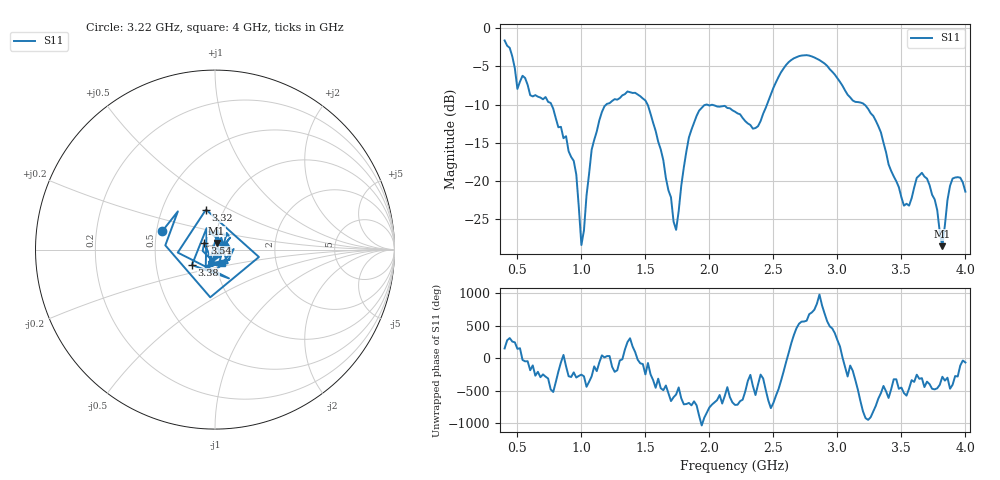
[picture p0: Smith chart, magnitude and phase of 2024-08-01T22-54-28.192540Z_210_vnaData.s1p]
!Created with skrf (http://scikit-rf.org).
# Hz S RI R 50.0
!freq ReS11 ImS11
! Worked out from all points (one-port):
!   181 points, 400 MHz to 4 GHz, reference 50 ohm
!   lowest |S11| = -28.5 dB at 3.82 GHz (marker M1), VSWR 1.08, Z = 50.7 + j3.72 ohm
!   |S11| at or under -10 dB: 1.517 GHz to 1.975 GHz (457.8 MHz wide, 26.2 % of centre); 1.983 GHz to 2.45 GHz (466.5 MHz wide, 21 % of centre); 3.212 GHz to end of sweep (the widest 3 of 4)
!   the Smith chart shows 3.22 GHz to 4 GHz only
!   S11 on the Smith chart (normalised r, x): 3.22 GHz: 0.53, +0.12; 3.32 GHz: 0.82, +0.39; 3.38 GHz: 0.76, -0.13; 3.54 GHz: 0.88, +0.07; 4 GHz: 1.07, -0.16
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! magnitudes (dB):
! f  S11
! 400 MHz  -1.6
! 500 MHz  -7.9
! 720 MHz  -9.0
! 860 MHz  -14.4
! 960 MHz  -19.1
! 1 GHz  -28.3
! 1.08 GHz  -15.9
! 1.14 GHz  -12.0
! 1.3 GHz  -9.1
! 1.52 GHz  -10.1
! 1.72 GHz  -25.3
! 1.76 GHz  -23.9
! 1.84 GHz  -14.3
! 1.92 GHz  -10.8
! 2.2 GHz  -10.9
! 2.38 GHz  -12.8
! 2.66 GHz  -3.9
! 3.1 GHz  -9.1
! 3.22 GHz  -10.1
! 3.32 GHz  -12.8
! 3.38 GHz  -16.2
! 3.54 GHz  -23.0
! 3.56 GHz  -23.2
! 3.62 GHz  -19.6
! 3.7 GHz  -19.7
! 3.82 GHz  -28.5
! 3.9 GHz  -19.7
! 4 GHz  -21.4
